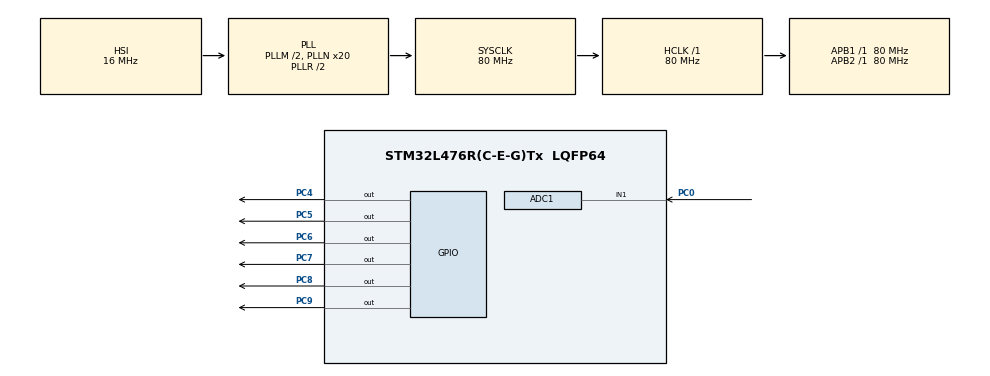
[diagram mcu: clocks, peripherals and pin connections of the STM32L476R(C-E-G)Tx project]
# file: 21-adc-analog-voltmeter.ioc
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ADC1.Channel-0\#ChannelRegularConversion=ADC_CHANNEL_1
ADC1.ContinuousConvMode=ENABLE
ADC1.EOCSelection=ADC_EOC_SEQ_CONV
ADC1.NbrOfConversionFlag=1
ADC1.OffsetNumber-0\#ChannelRegularConversion=ADC_OFFSET_NONE
ADC1.Overrun=ADC_OVR_DATA_OVERWRITTEN
ADC1.Rank-0\#ChannelRegularConversion=1
ADC1.SamplingTime-0\#ChannelRegularConversion=ADC_SAMPLETIME_2CYCLES_5
ADC1.master=1
Mcu.Family=STM32L4
Mcu.Name=STM32L476R(C-E-G)Tx
Mcu.Package=LQFP64
NVIC.PriorityGroup=NVIC_PRIORITYGROUP_4
PC0.Signal=ADCx_IN1
PC4.Signal=GPIO_Output
PC5.Signal=GPIO_Output
PC6.Signal=GPIO_Output
PC7.Signal=GPIO_Output
PC8.Signal=GPIO_Output
PC9.Signal=GPIO_Output
ProjectManager.HeapSize=0x200
ProjectManager.StackSize=0x400
ProjectManager.TargetToolchain=STM32CubeIDE
RCC.ADCFreq_Value=32000000
RCC.AHBFreq_Value=80000000
RCC.APB1Freq_Value=80000000
RCC.APB1TimFreq_Value=80000000
RCC.APB2Freq_Value=80000000
RCC.APB2TimFreq_Value=80000000
RCC.CortexFreq_Value=80000000
RCC.HCLKFreq_Value=80000000
RCC.HSE_VALUE=8000000
RCC.HSI_VALUE=16000000
RCC.MSI_VALUE=4000000
RCC.PLLM=2
RCC.PLLN=20
RCC.PLLSourceVirtual=RCC_PLLSOURCE_HSI
RCC.PREFETCH_ENABLE=1
RCC.SYSCLKFreq_VALUE=80000000
RCC.SYSCLKSource=RCC_SYSCLKSOURCE_PLLCLK
RCC.USBFreq_Value=32000000
RCC.VCOOutputFreq_Value=160000000
SH.ADCx_IN1.0=ADC1_IN1,IN1-Single-Ended
board=NUCLEO-L476RG

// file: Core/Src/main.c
/* USER CODE BEGIN Header */
/**
  ******************************************************************************
  * @file           : main.c
  * @brief          : Main program body
  ******************************************************************************
  * @attention
  *
  * Copyright (c) 2025 STMicroelectronics.
  * All rights reserved.
  *
  * This software is licensed under terms that can be found in the LICENSE file
  * in the root directory of this software component.
  * If no LICENSE file comes with this software, it is provided AS-IS.
  *
  ******************************************************************************
  */
/* USER CODE END Header */
#include "main.h"

/* USER CODE BEGIN Includes */
#include "lcd.h"
#include "stdio.h"
/* USER CODE END Includes */

ADC_HandleTypeDef hadc1;

void SystemClock_Config(void);
static void MX_GPIO_Init(void);
static void MX_ADC1_Init(void);

/* USER CODE BEGIN 0 */
uint32_t ADCResult = 0;
/* USER CODE END 0 */

int main(void)
{

  /* MCU Configuration--------------------------------------------------------*/

  /* Reset of all peripherals, Initializes the Flash interface and the Systick. */
  HAL_Init();

  /* Configure the system clock */
  SystemClock_Config();

  /* Initialize all configured peripherals */
  MX_GPIO_Init();
  MX_ADC1_Init();
  /* USER CODE BEGIN 2 */
  float millivolts;    //millivolts
  char buff[10];    //string buffer
  LCD_initial();    //initialize lcd
  LCD_Puts("Voltmeter:");    //display text on LCD
  HAL_ADC_Start(&hadc1);    //start ADC
  /* USER CODE END 2 */

  /* Infinite loop */
  /* USER CODE BEGIN WHILE */
  while (1)
  {
    //ADC conversion
    HAL_ADC_PollForConversion(&hadc1, 100);    //ADC polling timeout 100ms
    ADCResult = HAL_ADC_GetValue(&hadc1);
    millivolts = ((float)ADCResult) * 3300.0 / 4095.0;    //12-bit to millivolts conversion
    LCD_GoTo_Position(1, 0);    //go to lcd position

    sprintf(buff, "%7.2f", millivolts);
    LCD_Puts(buff);
    HAL_Delay(500);
    /* USER CODE END WHILE */

  }
}

void SystemClock_Config(void)
{
  RCC_OscInitTypeDef RCC_OscInitStruct = {0};
  RCC_ClkInitTypeDef RCC_ClkInitStruct = {0};

  /** Configure the main internal regulator output voltage
  */
  if (HAL_PWREx_ControlVoltageScaling(PWR_REGULATOR_VOLTAGE_SCALE1) != HAL_OK)
  {
    Error_Handler();
  }

  /** Initializes the RCC Oscillators according to the specified parameters
  * in the RCC_OscInitTypeDef structure.
  */
  RCC_OscInitStruct.OscillatorType = RCC_OSCILLATORTYPE_HSI;
  RCC_OscInitStruct.HSIState = RCC_HSI_ON;
  RCC_OscInitStruct.HSICalibrationValue = RCC_HSICALIBRATION_DEFAULT;
  RCC_OscInitStruct.PLL.PLLState = RCC_PLL_ON;
  RCC_OscInitStruct.PLL.PLLSource = RCC_PLLSOURCE_HSI;
  RCC_OscInitStruct.PLL.PLLM = 2;
  RCC_OscInitStruct.PLL.PLLN = 20;
  RCC_OscInitStruct.PLL.PLLP = RCC_PLLP_DIV7;
  RCC_OscInitStruct.PLL.PLLQ = RCC_PLLQ_DIV2;
  RCC_OscInitStruct.PLL.PLLR = RCC_PLLR_DIV2;
  if (HAL_RCC_OscConfig(&RCC_OscInitStruct) != HAL_OK)
  {
    Error_Handler();
  }

  /** Initializes the CPU, AHB and APB buses clocks
  */
  RCC_ClkInitStruct.ClockType = RCC_CLOCKTYPE_HCLK|RCC_CLOCKTYPE_SYSCLK
                              |RCC_CLOCKTYPE_PCLK1|RCC_CLOCKTYPE_PCLK2;
  RCC_ClkInitStruct.SYSCLKSource = RCC_SYSCLKSOURCE_PLLCLK;
  RCC_ClkInitStruct.AHBCLKDivider = RCC_SYSCLK_DIV1;
  RCC_ClkInitStruct.APB1CLKDivider = RCC_HCLK_DIV1;
  RCC_ClkInitStruct.APB2CLKDivider = RCC_HCLK_DIV1;

  if (HAL_RCC_ClockConfig(&RCC_ClkInitStruct, FLASH_LATENCY_4) != HAL_OK)
  {
    Error_Handler();
  }
}

static void MX_ADC1_Init(void)
{

  ADC_MultiModeTypeDef multimode = {0};
  ADC_ChannelConfTypeDef sConfig = {0};

  /** Common config
  */
  hadc1.Instance = ADC1;
  hadc1.Init.ClockPrescaler = ADC_CLOCK_ASYNC_DIV1;
  hadc1.Init.Resolution = ADC_RESOLUTION_12B;
  hadc1.Init.DataAlign = ADC_DATAALIGN_RIGHT;
  hadc1.Init.ScanConvMode = ADC_SCAN_DISABLE;
  hadc1.Init.EOCSelection = ADC_EOC_SEQ_CONV;
  hadc1.Init.LowPowerAutoWait = DISABLE;
  hadc1.Init.ContinuousConvMode = ENABLE;
  hadc1.Init.NbrOfConversion = 1;
  hadc1.Init.DiscontinuousConvMode = DISABLE;
  hadc1.Init.ExternalTrigConv = ADC_SOFTWARE_START;
  hadc1.Init.ExternalTrigConvEdge = ADC_EXTERNALTRIGCONVEDGE_NONE;
  hadc1.Init.DMAContinuousRequests = DISABLE;
  hadc1.Init.Overrun = ADC_OVR_DATA_OVERWRITTEN;
  hadc1.Init.OversamplingMode = DISABLE;
  if (HAL_ADC_Init(&hadc1) != HAL_OK)
  {
    Error_Handler();
  }

  /** Configure the ADC multi-mode
  */
  multimode.Mode = ADC_MODE_INDEPENDENT;
  if (HAL_ADCEx_MultiModeConfigChannel(&hadc1, &multimode) != HAL_OK)
  {
    Error_Handler();
  }

  /** Configure Regular Channel
  */
  sConfig.Channel = ADC_CHANNEL_1;
  sConfig.Rank = ADC_REGULAR_RANK_1;
  sConfig.SamplingTime = ADC_SAMPLETIME_2CYCLES_5;
  sConfig.SingleDiff = ADC_SINGLE_ENDED;
  sConfig.OffsetNumber = ADC_OFFSET_NONE;
  sConfig.Offset = 0;
  if (HAL_ADC_ConfigChannel(&hadc1, &sConfig) != HAL_OK)
  {
    Error_Handler();
  }

}

static void MX_GPIO_Init(void)
{
  GPIO_InitTypeDef GPIO_InitStruct = {0};

  /* GPIO Ports Clock Enable */
  __HAL_RCC_GPIOC_CLK_ENABLE();

  /*Configure GPIO pin Output Level */
  HAL_GPIO_WritePin(GPIOC, GPIO_PIN_4|GPIO_PIN_5|GPIO_PIN_6|GPIO_PIN_7
                          |GPIO_PIN_8|GPIO_PIN_9, GPIO_PIN_RESET);

  /*Configure GPIO pins : PC4 PC5 PC6 PC7
                           PC8 PC9 */
  GPIO_InitStruct.Pin = GPIO_PIN_4|GPIO_PIN_5|GPIO_PIN_6|GPIO_PIN_7
                          |GPIO_PIN_8|GPIO_PIN_9;
  GPIO_InitStruct.Mode = GPIO_MODE_OUTPUT_PP;
  GPIO_InitStruct.Pull = GPIO_NOPULL;
  GPIO_InitStruct.Speed = GPIO_SPEED_FREQ_LOW;
  HAL_GPIO_Init(GPIOC, &GPIO_InitStruct);

}

void Error_Handler(void)
{
  __disable_irq();
  while (1)
  {
  }
}
